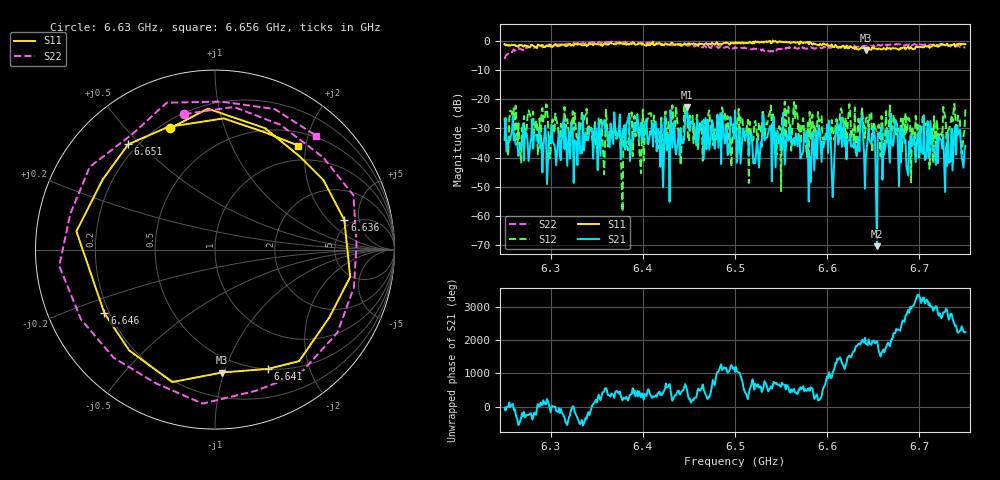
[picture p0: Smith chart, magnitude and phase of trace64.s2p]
# Hz S RI R 50
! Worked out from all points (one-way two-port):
!   401 points, 6.25 GHz to 6.75 GHz, reference 50 ohm
!   highest |S21| = -22.84 dB at 6.448 GHz (marker M1); lowest = -70.3 dB at 6.654 GHz (marker M2)
!   lowest |S11| = -3.3 dB at 6.642 GHz (marker M3), VSWR 5.37, Z = 19 - j49.2 ohm
!   |S11| at or under -10 dB: nowhere
!   |S22| runs from -6.2 to -0.3 dB; largest |S21 - S12| = 0.13
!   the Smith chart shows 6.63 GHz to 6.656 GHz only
!   S11 on the Smith chart (normalised r, x): 6.63 GHz: 0.24, +0.67; 6.636 GHz: 4.32, +3.13; 6.641 GHz: 0.50, -1.42; 6.646 GHz: 0.18, -0.26; 6.651 GHz: 0.17, +0.46; 6.656 GHz: 0.72, +1.86
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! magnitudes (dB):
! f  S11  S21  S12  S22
! 6.25 GHz  -1.2  -34.0  -26.3  -6.2
! 6.334 GHz  -1.5  -38.4  -24.0  -1.0
! 6.379 GHz  -0.9  -30.0  -31.0  -0.6
! 6.406 GHz  -1.4  -35.4  -25.1  -0.6
! 6.418 GHz  -0.9  -31.6  -33.6  -0.6
! 6.448 GHz  -1.3  -22.8  -24.4  -1.6
! 6.5 GHz  -0.7  -23.8  -28.0  -2.1
! 6.584 GHz  -1.3  -31.4  -25.3  -2.5
! 6.606 GHz  -2.1  -53.5  -30.1  -1.9
! 6.612 GHz  -2.2  -35.6  -35.3  -2.5
! 6.63 GHz  -2.8  -34.9  -22.8  -2.2
! 6.636 GHz  -2.6  -27.5  -28.0  -2.1
! 6.641 GHz  -2.8  -50.7  -33.3  -1.7
! 6.642 GHz  -3.3  -39.3  -26.6  -1.3
! 6.646 GHz  -3.0  -33.9  -25.4  -1.5
! 6.651 GHz  -2.4  -31.4  -27.9  -2.0
! 6.654 GHz  -2.7  -70.3  -30.9  -1.7
! 6.656 GHz  -2.6  -32.8  -28.7  -1.4
! 6.668 GHz  -2.5  -41.8  -22.1  -1.3
! 6.705 GHz  -2.2  -25.5  -29.4  -1.4
! 6.712 GHz  -2.1  -27.5  -37.1  -1.2
! 6.75 GHz  -1.2  -36.0  -23.5  -2.2
